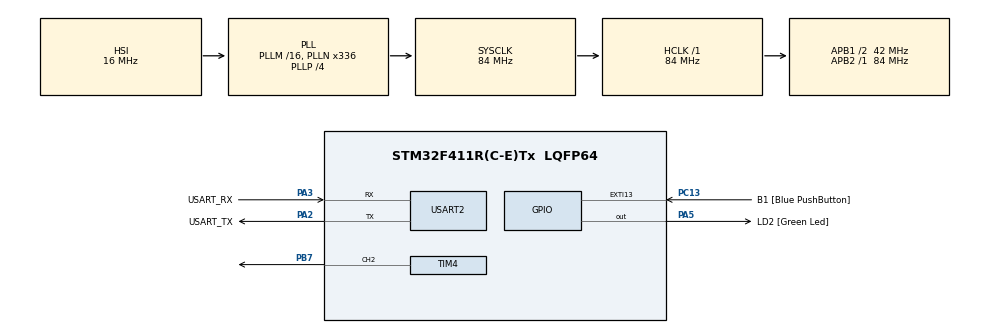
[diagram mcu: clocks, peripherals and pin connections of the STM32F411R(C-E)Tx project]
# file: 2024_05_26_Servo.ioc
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Mcu.Family=STM32F4
Mcu.Name=STM32F411R(C-E)Tx
Mcu.Package=LQFP64
NVIC.PriorityGroup=NVIC_PRIORITYGROUP_0
NVIC.TIM4_IRQn=true\:0\:0\:false\:false\:true\:true\:true\:true
PA13.GPIO_Label=TMS
PA13.Mode=Serial_Wire
PA13.Signal=SYS_JTMS-SWDIO
PA14.GPIO_Label=TCK
PA14.Mode=Serial_Wire
PA14.Signal=SYS_JTCK-SWCLK
PA2.GPIO_Label=USART_TX
PA2.Mode=Asynchronous
PA2.Signal=USART2_TX
PA3.GPIO_Label=USART_RX
PA3.Mode=Asynchronous
PA3.Signal=USART2_RX
PA5.GPIO_Label=LD2 [Green Led]
PA5.Signal=GPIO_Output
PB3.GPIO_Label=SWO
PB3.Signal=SYS_JTDO-SWO
PB7.Signal=S_TIM4_CH2
PC13-ANTI_TAMP.GPIO_Label=B1 [Blue PushButton]
PC13-ANTI_TAMP.GPIO_ModeDefaultEXTI=GPIO_MODE_IT_FALLING
PC13-ANTI_TAMP.Signal=GPXTI13
PC14-OSC32_IN.Mode=LSE-External-Oscillator
PC14-OSC32_IN.Signal=RCC_OSC32_IN
PC15-OSC32_OUT.Mode=LSE-External-Oscillator
PC15-OSC32_OUT.Signal=RCC_OSC32_OUT
PH0\ -\ OSC_IN.Mode=HSE-External-Clock-Source
PH0\ -\ OSC_IN.Signal=RCC_OSC_IN
PH1\ -\ OSC_OUT.Mode=HSE-External-Clock-Source
PH1\ -\ OSC_OUT.Signal=RCC_OSC_OUT
ProjectManager.HeapSize=0x200
ProjectManager.StackSize=0x400
ProjectManager.TargetToolchain=STM32CubeIDE
RCC.48MHZClocksFreq_Value=84000000
RCC.AHBFreq_Value=84000000
RCC.APB1CLKDivider=RCC_HCLK_DIV2
RCC.APB1Freq_Value=42000000
RCC.APB1TimFreq_Value=84000000
RCC.APB2Freq_Value=84000000
RCC.APB2TimFreq_Value=84000000
RCC.CortexFreq_Value=84000000
RCC.FLatency-AdvancedSettings=FLASH_LATENCY_2
RCC.HCLKFreq_Value=84000000
RCC.HSE_VALUE=8000000
RCC.HSI_VALUE=16000000
RCC.PLLN=336
RCC.PLLP=RCC_PLLP_DIV4
RCC.SYSCLKFreq_VALUE=84000000
RCC.SYSCLKSource=RCC_SYSCLKSOURCE_PLLCLK
RCC.VCOOutputFreq_Value=336000000
SH.S_TIM4_CH2.0=TIM4_CH2,PWM Generation2 CH2
TIM4.Channel-PWM\ Generation2\ CH2=TIM_CHANNEL_2
TIM4.Period=1000-1
TIM4.Prescaler=320-1
TIM4.Pulse-PWM\ Generation2\ CH2=500-1
USART2.VirtualMode=VM_ASYNC
board=NUCLEO-F411RE

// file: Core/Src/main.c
/* USER CODE BEGIN Header */
/**
  ******************************************************************************
  * @file           : main.c
  * @brief          : Main program body
  ******************************************************************************
  * @attention
  *
  * Copyright (c) 2024 STMicroelectronics.
  * All rights reserved.
  *
  * This software is licensed under terms that can be found in the LICENSE file
  * in the root directory of this software component.
  * If no LICENSE file comes with this software, it is provided AS-IS.
  *
  ******************************************************************************
  */
/* USER CODE END Header */
#include "main.h"

TIM_HandleTypeDef htim4;

UART_HandleTypeDef huart2;

void SystemClock_Config(void);
static void MX_GPIO_Init(void);
static void MX_USART2_UART_Init(void);
static void MX_TIM4_Init(void);

/* USER CODE BEGIN 0 */
HAL_TIM_PWM_Start(&htim4,TIM_CHANNEL_2); // Add PWM Servo Motor

//2ms Pwm - Servo motor arm rotates to 180 degree
__HAL_TIM_SetCompare(&htim4, TIM_CHANNEL_2, 100);
HAL_Delay(1000); // 1000ms
​
//1.5ms Pwm - Servo motor arm rotates to 90 degree
__HAL_TIM_SetCompare(&htim4, TIM_CHANNEL_2, 75);
HAL_Delay(1000); // 1000ms
​
//1ms Pwm - Servo motor arm rotates to 0 degree
__HAL_TIM_SetCompare(&htim4, TIM_CHANNEL_2, 50);
HAL_Delay(1000); // 1000ms
/* USER CODE END 0 */

int main(void)
{

  /* USER CODE BEGIN 1 */
  HAL_TIM_PWM_Start(&htim4,TIM_CHANNEL_2); // Add PWM Servo Motor
  /* USER CODE END 1 */

  /* MCU Configuration--------------------------------------------------------*/

  /* Reset of all peripherals, Initializes the Flash interface and the Systick. */
  HAL_Init();

  /* Configure the system clock */
  SystemClock_Config();

  /* Initialize all configured peripherals */
  MX_GPIO_Init();
  MX_USART2_UART_Init();
  MX_TIM4_Init();

  /* Infinite loop */
  while (1)
  {

    /* USER CODE BEGIN 3 */
    //2ms Pwm - Servo motor arm rotates to 180 degree
    __HAL_TIM_SetCompare(&htim4, TIM_CHANNEL_2, 100);
    HAL_Delay(1000); // 1000ms
    ​
    //1.5ms Pwm - Servo motor arm rotates to 90 degree
    __HAL_TIM_SetCompare(&htim4, TIM_CHANNEL_2, 75);
    HAL_Delay(1000); // 1000ms
    ​
    //1ms Pwm - Servo motor arm rotates to 0 degree
    __HAL_TIM_SetCompare(&htim4, TIM_CHANNEL_2, 50);
    HAL_Delay(1000); // 1000ms
  }
  /* USER CODE END 3 */
}

void SystemClock_Config(void)
{
  RCC_OscInitTypeDef RCC_OscInitStruct = {0};
  RCC_ClkInitTypeDef RCC_ClkInitStruct = {0};

  /** Configure the main internal regulator output voltage
  */
  __HAL_RCC_PWR_CLK_ENABLE();
  __HAL_PWR_VOLTAGESCALING_CONFIG(PWR_REGULATOR_VOLTAGE_SCALE1);

  /** Initializes the RCC Oscillators according to the specified parameters
  * in the RCC_OscInitTypeDef structure.
  */
  RCC_OscInitStruct.OscillatorType = RCC_OSCILLATORTYPE_HSI;
  RCC_OscInitStruct.HSIState = RCC_HSI_ON;
  RCC_OscInitStruct.HSICalibrationValue = RCC_HSICALIBRATION_DEFAULT;
  RCC_OscInitStruct.PLL.PLLState = RCC_PLL_ON;
  RCC_OscInitStruct.PLL.PLLSource = RCC_PLLSOURCE_HSI;
  RCC_OscInitStruct.PLL.PLLM = 16;
  RCC_OscInitStruct.PLL.PLLN = 336;
  RCC_OscInitStruct.PLL.PLLP = RCC_PLLP_DIV4;
  RCC_OscInitStruct.PLL.PLLQ = 4;
  if (HAL_RCC_OscConfig(&RCC_OscInitStruct) != HAL_OK)
  {
    Error_Handler();
  }

  /** Initializes the CPU, AHB and APB buses clocks
  */
  RCC_ClkInitStruct.ClockType = RCC_CLOCKTYPE_HCLK|RCC_CLOCKTYPE_SYSCLK
                              |RCC_CLOCKTYPE_PCLK1|RCC_CLOCKTYPE_PCLK2;
  RCC_ClkInitStruct.SYSCLKSource = RCC_SYSCLKSOURCE_PLLCLK;
  RCC_ClkInitStruct.AHBCLKDivider = RCC_SYSCLK_DIV1;
  RCC_ClkInitStruct.APB1CLKDivider = RCC_HCLK_DIV2;
  RCC_ClkInitStruct.APB2CLKDivider = RCC_HCLK_DIV1;

  if (HAL_RCC_ClockConfig(&RCC_ClkInitStruct, FLASH_LATENCY_2) != HAL_OK)
  {
    Error_Handler();
  }
}

static void MX_TIM4_Init(void)
{

  TIM_MasterConfigTypeDef sMasterConfig = {0};
  TIM_OC_InitTypeDef sConfigOC = {0};

  htim4.Instance = TIM4;
  htim4.Init.Prescaler = 320-1;
  htim4.Init.CounterMode = TIM_COUNTERMODE_UP;
  htim4.Init.Period = 1000-1;
  htim4.Init.ClockDivision = TIM_CLOCKDIVISION_DIV1;
  htim4.Init.AutoReloadPreload = TIM_AUTORELOAD_PRELOAD_DISABLE;
  if (HAL_TIM_PWM_Init(&htim4) != HAL_OK)
  {
    Error_Handler();
  }
  sMasterConfig.MasterOutputTrigger = TIM_TRGO_RESET;
  sMasterConfig.MasterSlaveMode = TIM_MASTERSLAVEMODE_DISABLE;
  if (HAL_TIMEx_MasterConfigSynchronization(&htim4, &sMasterConfig) != HAL_OK)
  {
    Error_Handler();
  }
  sConfigOC.OCMode = TIM_OCMODE_PWM1;
  sConfigOC.Pulse = 500-1;
  sConfigOC.OCPolarity = TIM_OCPOLARITY_HIGH;
  sConfigOC.OCFastMode = TIM_OCFAST_DISABLE;
  if (HAL_TIM_PWM_ConfigChannel(&htim4, &sConfigOC, TIM_CHANNEL_2) != HAL_OK)
  {
    Error_Handler();
  }
  HAL_TIM_MspPostInit(&htim4);

}

static void MX_USART2_UART_Init(void)
{

  huart2.Instance = USART2;
  huart2.Init.BaudRate = 115200;
  huart2.Init.WordLength = UART_WORDLENGTH_8B;
  huart2.Init.StopBits = UART_STOPBITS_1;
  huart2.Init.Parity = UART_PARITY_NONE;
  huart2.Init.Mode = UART_MODE_TX_RX;
  huart2.Init.HwFlowCtl = UART_HWCONTROL_NONE;
  huart2.Init.OverSampling = UART_OVERSAMPLING_16;
  if (HAL_UART_Init(&huart2) != HAL_OK)
  {
    Error_Handler();
  }

}

static void MX_GPIO_Init(void)
{
  GPIO_InitTypeDef GPIO_InitStruct = {0};

  /* GPIO Ports Clock Enable */
  __HAL_RCC_GPIOC_CLK_ENABLE();
  __HAL_RCC_GPIOH_CLK_ENABLE();
  __HAL_RCC_GPIOA_CLK_ENABLE();
  __HAL_RCC_GPIOB_CLK_ENABLE();

  /*Configure GPIO pin Output Level */
  HAL_GPIO_WritePin(LD2_GPIO_Port, LD2_Pin, GPIO_PIN_RESET);

  /*Configure GPIO pin : B1_Pin */
  GPIO_InitStruct.Pin = B1_Pin;
  GPIO_InitStruct.Mode = GPIO_MODE_IT_FALLING;
  GPIO_InitStruct.Pull = GPIO_NOPULL;
  HAL_GPIO_Init(B1_GPIO_Port, &GPIO_InitStruct);

  /*Configure GPIO pin : LD2_Pin */
  GPIO_InitStruct.Pin = LD2_Pin;
  GPIO_InitStruct.Mode = GPIO_MODE_OUTPUT_PP;
  GPIO_InitStruct.Pull = GPIO_NOPULL;
  GPIO_InitStruct.Speed = GPIO_SPEED_FREQ_LOW;
  HAL_GPIO_Init(LD2_GPIO_Port, &GPIO_InitStruct);

}

void Error_Handler(void)
{
  __disable_irq();
  while (1)
  {
  }
}
